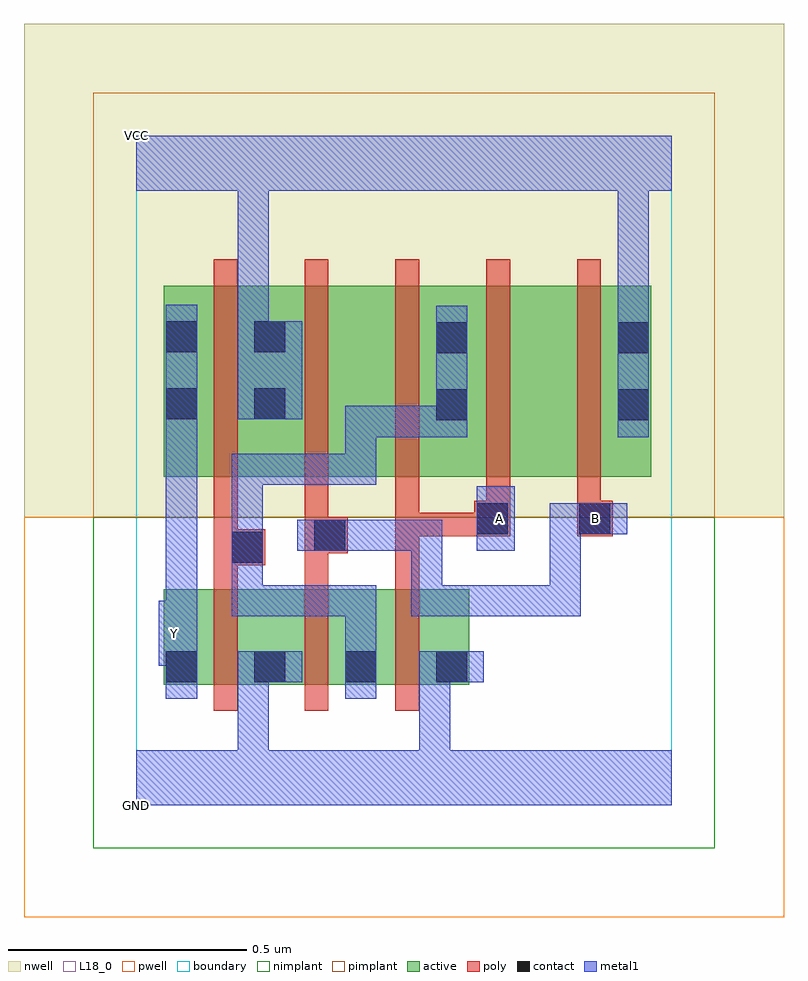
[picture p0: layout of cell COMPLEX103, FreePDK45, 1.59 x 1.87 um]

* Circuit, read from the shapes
.subckt COMPLEX103 A B GND VCC Y
M1 GND n1 Y VSUBS nfet w=0.2u l=0.05u
M2 n1 B GND VSUBS nfet w=0.2u l=0.05u
M3 GND A n1 VSUBS nfet w=0.2u l=0.05u
M4 VCC n1 Y n2 pfet w=0.4u l=0.05u
M5 n3 B VCC n2 pfet w=0.4u l=0.05u
M6 n1 A n3 n2 pfet w=0.4u l=0.05u
M7 n4 A n1 n2 pfet w=0.4u l=0.05u
M8 VCC B n4 n2 pfet w=0.4u l=0.05u
.ends

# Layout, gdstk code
import gdstk
lib = gdstk.Library(unit=1e-6, precision=1e-09)
def R(c, l, rs):  # rectangles x0, y0, x1, y1
    for r in rs: c.add(gdstk.rectangle(r[:2], r[2:], *l))
def A(c, l, x, y, w, h, nx, ny, dx, dy):  # array of equal rectangles
    R(c, l, [(x+i*dx, y+j*dy, x+i*dx+w, y+j*dy+h) for i in range(nx) for j in range(ny)])
active = (1, 0)
pwell = (2, 0)
nwell = (3, 0)
nimplant = (4, 0)
pimplant = (5, 0)
poly = (9, 0)
contact = (10, 0)
metal1 = (11, 0)
L18_0 = (18, 0)
boundary = (235, 0)

complex103 = lib.new_cell('COMPLEX103')
A(complex103, active, 0.242, 0.252, 0.075, 0.2, 3, 1, 0.19, 0)
R(complex103, active, [(0.057,0.252,0.132,0.452), (0.057,0.252,0.317,0.452), (0.242,0.252,0.507,0.452), (0.432,0.252,0.697,0.452), (0.057,0.687,0.317,1.087), (0.057,0.687,0.132,1.087), (0.242,0.687,0.472,1.087), (0.472,0.687,0.697,1.087), (0.622,0.687,0.852,1.087), (0.852,0.687,1.077,1.087), (1.002,0.687,1.077,1.057), (0.622,0.8,0.697,1.057), (0.242,0.802,0.317,1.087)])
R(complex103, pwell, [(-0.235,-0.235,1.355,0.602)])
R(complex103, nwell, [(-0.235,0.602,1.355,1.635)])
R(complex103, nimplant, [(-0.09,-0.09,1.21,0.602)])
R(complex103, pimplant, [(-0.09,0.602,1.21,1.49)])
A(complex103, poly, 0.162, 0.632, 0.05, 0.51, 5, 1, 0.19, 0)
R(complex103, poly, [(0.162,0.197,0.212,0.507), (0.352,0.197,0.402,0.577), (0.542,0.197,0.592,0.507), (0.162,0.457,0.212,0.552), (0.542,0.457,0.592,0.612), (0.162,0.502,0.27,0.577), (0.162,0.527,0.212,0.682), (0.352,0.527,0.402,0.577), (0.352,0.527,0.442,0.602), (0.352,0.552,0.402,0.682), (0.542,0.562,0.592,0.612), (0.542,0.562,0.757,0.612), (0.542,0.562,0.592,0.682), (0.707,0.562,0.782,0.637), (0.707,0.562,0.757,0.612), (0.707,0.562,0.757,0.612), (0.922,0.562,0.997,0.637), (0.732,0.587,0.782,0.682), (0.922,0.587,0.972,0.682)])
A(complex103, contact, 0.247, 0.257, 0.065, 0.065, 3, 1, 0.19, 0)
R(complex103, contact, [(0.062,0.257,0.127,0.322), (0.2,0.507,0.265,0.572), (0.372,0.532,0.437,0.597), (0.712,0.567,0.777,0.632), (0.927,0.567,0.992,0.632), (0.627,0.805,0.692,0.87), (1.007,0.805,1.072,0.87), (0.062,0.807,0.127,0.872), (0.247,0.807,0.312,0.872), (0.627,0.945,0.692,1.01), (1.007,0.945,1.072,1.01), (0.062,0.947,0.127,1.012), (0.247,0.947,0.312,1.012)])
R(complex103, metal1, [(0,0,1.12,0.115), (0.212,0.05,0.277,0.115), (0.212,0.05,0.277,0.115), (0.212,0.05,0.277,0.115), (0.212,0.05,0.277,0.115), (0.212,0.05,0.277,0.322), (0.592,0.05,0.657,0.322), (0.062,0.222,0.127,0.357), (0.437,0.222,0.502,0.357), (0.212,0.257,0.347,0.322), (0.592,0.257,0.657,0.322), (0.592,0.257,0.657,0.322), (0.592,0.257,0.657,0.322), (0.592,0.257,0.657,0.322), (0.592,0.257,0.727,0.322), (0.047,0.292,0.127,0.427), (0.062,0.292,0.127,0.357), (0.437,0.292,0.502,0.357), (0.437,0.292,0.502,0.46), (0.062,0.362,0.127,0.837), (0.2,0.395,0.265,0.46), (0.2,0.395,0.502,0.46), (0.2,0.395,0.265,0.607), (0.575,0.395,0.64,0.46), (0.575,0.395,0.82,0.46), (0.575,0.395,0.64,0.597), (0.755,0.395,0.82,0.46), (0.755,0.395,0.93,0.46), (0.865,0.395,0.93,0.46), (0.865,0.395,0.93,0.632), (0.2,0.472,0.265,0.607), (0.337,0.532,0.472,0.597), (0.407,0.532,0.472,0.597), (0.407,0.532,0.472,0.597), (0.407,0.532,0.64,0.597), (0.575,0.532,0.64,0.597), (0.575,0.532,0.64,0.597), (0.575,0.532,0.64,0.597), (0.712,0.532,0.792,0.667), (0.2,0.542,0.265,0.607), (0.2,0.542,0.265,0.607), (0.2,0.542,0.265,0.735), (0.865,0.567,0.93,0.632), (0.865,0.567,0.957,0.632), (0.892,0.567,1.027,0.632), (0.2,0.67,0.265,0.735), (0.2,0.67,0.502,0.735), (0.437,0.67,0.502,0.735), (0.437,0.67,0.502,0.735), (0.437,0.67,0.502,0.835), (0.437,0.77,0.64,0.835), (0.575,0.77,0.64,0.835), (0.575,0.77,0.692,0.835), (0.627,0.77,0.692,1.045), (1.007,0.77,1.072,1.045), (0.062,0.772,0.127,1.047), (0.212,0.807,0.347,1.012), (0.212,0.947,0.277,1.012), (0.212,0.947,0.277,1.012), (0.212,0.947,0.277,1.35), (1.007,0.98,1.072,1.045), (1.007,0.98,1.072,1.045), (1.007,0.98,1.072,1.35), (0,1.285,1.12,1.4)])
R(complex103, L18_0, [(0,0,1.12,0.115), (0.212,0.05,0.277,0.115), (0.212,0.05,0.277,0.115), (0.212,0.05,0.277,0.115), (0.212,0.05,0.277,0.115), (0.212,0.05,0.277,0.322), (0.592,0.05,0.657,0.322), (0.062,0.222,0.127,0.357), (0.212,0.257,0.347,0.322), (0.592,0.257,0.657,0.322), (0.592,0.257,0.657,0.322), (0.592,0.257,0.657,0.322), (0.592,0.257,0.657,0.322), (0.592,0.257,0.727,0.322), (0.047,0.292,0.127,0.427), (0.062,0.292,0.127,0.357), (0.047,0.327,0.112,0.392), (0.062,0.362,0.127,0.837), (0.575,0.395,0.64,0.46), (0.575,0.395,0.64,0.597), (0.575,0.395,0.82,0.46), (0.755,0.395,0.82,0.46), (0.755,0.395,0.93,0.46), (0.865,0.395,0.93,0.46), (0.865,0.395,0.93,0.632), (0.337,0.532,0.472,0.597), (0.407,0.532,0.472,0.597), (0.407,0.532,0.472,0.597), (0.407,0.532,0.64,0.597), (0.575,0.532,0.64,0.597), (0.575,0.532,0.64,0.597), (0.575,0.532,0.64,0.597), (0.712,0.532,0.792,0.667), (0.727,0.567,0.792,0.632), (0.865,0.567,0.93,0.632), (0.865,0.567,0.957,0.632), (0.892,0.567,1.027,0.632), (0.927,0.567,0.992,0.632), (1.007,0.77,1.072,1.045), (0.062,0.772,0.127,1.047), (0.212,0.807,0.347,1.012), (0.212,0.947,0.277,1.012), (0.212,0.947,0.277,1.012), (0.212,0.947,0.277,1.35), (1.007,0.98,1.072,1.045), (1.007,0.98,1.072,1.045), (1.007,0.98,1.072,1.35), (0,1.285,1.12,1.4)])
R(complex103, boundary, [(0,0,1.12,1.4)])
complex103.add(gdstk.Label('A', (0.76,0.6), layer=11, texttype=0))
complex103.add(gdstk.Label('B', (0.96,0.6), layer=11, texttype=0))
complex103.add(gdstk.Label('Y', (0.08,0.36), layer=11, texttype=0))
complex103.add(gdstk.Label('VCC', (0,1.4), layer=11, texttype=0))
complex103.add(gdstk.Label('GND', (0,0), layer=11, texttype=0))

lib.write_gds('COMPLEX103.gds')
